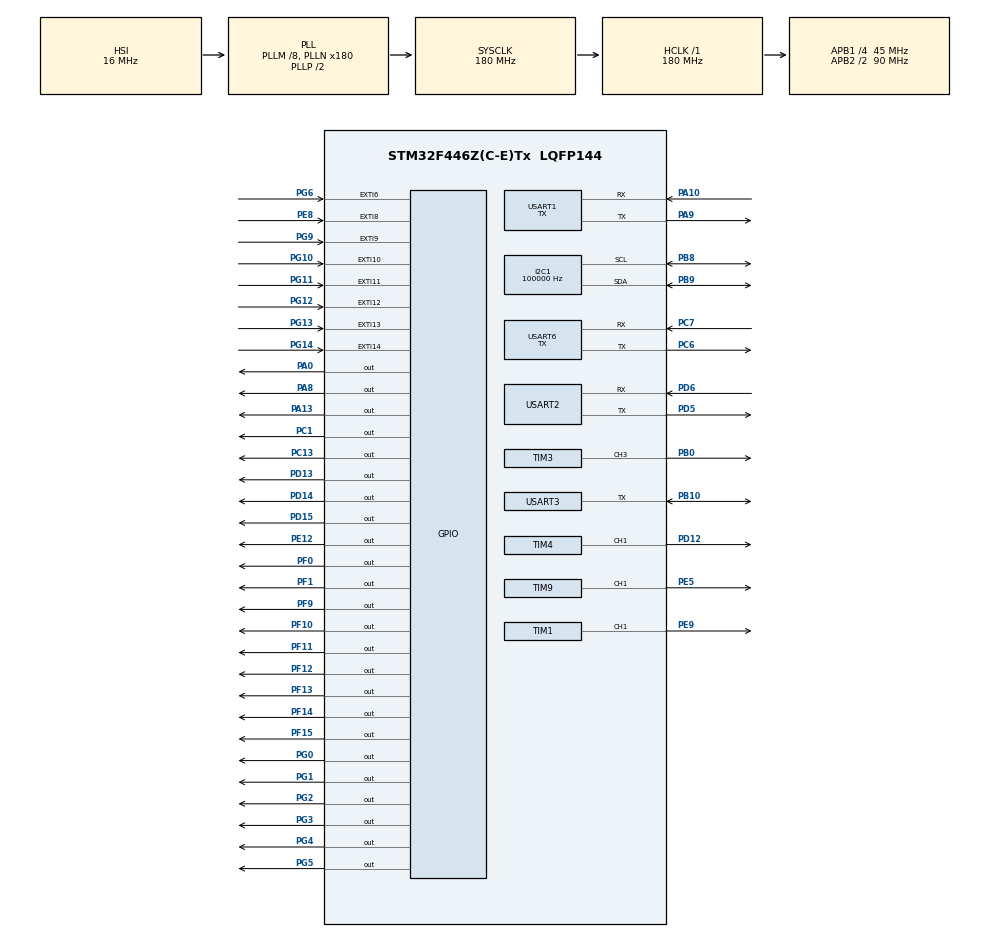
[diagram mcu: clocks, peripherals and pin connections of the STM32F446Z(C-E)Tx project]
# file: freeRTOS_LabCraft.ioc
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Dma.Request0=USART1_TX
Dma.USART1_TX.0.Direction=DMA_MEMORY_TO_PERIPH
Dma.USART1_TX.0.FIFOMode=DMA_FIFOMODE_DISABLE
Dma.USART1_TX.0.Instance=DMA2_Stream7
Dma.USART1_TX.0.MemDataAlignment=DMA_MDATAALIGN_BYTE
Dma.USART1_TX.0.MemInc=DMA_MINC_ENABLE
Dma.USART1_TX.0.Mode=DMA_NORMAL
Dma.USART1_TX.0.PeriphDataAlignment=DMA_PDATAALIGN_BYTE
Dma.USART1_TX.0.PeriphInc=DMA_PINC_DISABLE
Dma.USART1_TX.0.Priority=DMA_PRIORITY_HIGH
FREERTOS.INCLUDE_vTaskDelayUntil=1
FREERTOS.INCLUDE_xEventGroupSetBitFromISR=1
FREERTOS.INCLUDE_xTimerPendFunctionCall=1
FREERTOS.Tasks01=MotorInit,0,128,StartDefaultTask,Default,NULL,Dynamic,NULL,NULL
FREERTOS.configGENERATE_RUN_TIME_STATS=1
FREERTOS.configTIMER_QUEUE_LENGTH=10
FREERTOS.configUSE_NEWLIB_REENTRANT=1
FREERTOS.configUSE_STATS_FORMATTING_FUNCTIONS=1
FREERTOS.configUSE_TIMERS=1
FREERTOS.configUSE_TRACE_FACILITY=1
I2C1.ClockSpeed=100000
I2C1.I2C_Mode=I2C_Standard
Mcu.Family=STM32F4
Mcu.Name=STM32F446Z(C-E)Tx
Mcu.Package=LQFP144
NVIC.DMA2_Stream7_IRQn=true\:5\:0\:false\:false\:true\:true\:false\:true\:true
NVIC.EXTI15_10_IRQn=true\:5\:0\:false\:false\:true\:true\:true\:true\:true
NVIC.EXTI9_5_IRQn=true\:5\:0\:false\:false\:true\:true\:true\:true\:true
NVIC.PriorityGroup=NVIC_PRIORITYGROUP_4
NVIC.TIM1_BRK_TIM9_IRQn=true\:5\:0\:false\:false\:true\:true\:true\:true\:true
NVIC.TIM1_UP_TIM10_IRQn=true\:5\:0\:false\:false\:true\:true\:true\:true\:true
NVIC.TIM2_IRQn=true\:5\:0\:false\:false\:true\:true\:true\:true\:true
NVIC.TIM3_IRQn=true\:5\:0\:false\:false\:true\:true\:true\:true\:true
NVIC.TIM4_IRQn=true\:5\:0\:false\:false\:true\:true\:true\:true\:true
NVIC.TIM6_DAC_IRQn=true\:15\:0\:false\:false\:true\:false\:false\:true\:true
NVIC.TIM7_IRQn=true\:5\:0\:false\:false\:true\:true\:true\:true\:true
NVIC.TIM8_BRK_TIM12_IRQn=true\:5\:0\:false\:false\:true\:true\:true\:true\:true
NVIC.TIM8_TRG_COM_TIM14_IRQn=true\:5\:0\:false\:false\:true\:true\:true\:true\:true
NVIC.TIM8_UP_TIM13_IRQn=true\:5\:0\:false\:false\:true\:true\:true\:true\:true
NVIC.TimeBase=TIM6_DAC_IRQn
NVIC.TimeBaseIP=TIM6
NVIC.USART1_IRQn=true\:5\:0\:false\:false\:true\:true\:true\:true\:true
NVIC.USART2_IRQn=true\:5\:0\:false\:false\:true\:true\:true\:true\:true
PA0-WKUP.Signal=GPIO_Output
PA10.Mode=Asynchronous
PA10.Signal=USART1_RX
PA13.Signal=GPIO_Output
PA8.Signal=GPIO_Output
PA9.Mode=Asynchronous
PA9.Signal=USART1_TX
PB0.GPIO_Speed=GPIO_SPEED_FREQ_VERY_HIGH
PB0.Signal=S_TIM3_CH3
PB10.Mode=Half_duplex(single_wire_mode)
PB10.Signal=USART3_TX
PB8.GPIO_Pu=GPIO_PULLUP
PB8.Mode=I2C
PB8.Signal=I2C1_SCL
PB9.GPIO_Pu=GPIO_PULLUP
PB9.Mode=I2C
PB9.Signal=I2C1_SDA
PC1.Signal=GPIO_Output
PC13.Signal=GPIO_Output
PC6.Mode=Asynchronous
PC6.Signal=USART6_TX
PC7.Mode=Asynchronous
PC7.Signal=USART6_RX
PD12.GPIO_PuPd=GPIO_PULLDOWN
PD12.GPIO_Speed=GPIO_SPEED_FREQ_VERY_HIGH
PD12.Signal=S_TIM4_CH1
PD13.Signal=GPIO_Output
PD14.Signal=GPIO_Output
PD15.Signal=GPIO_Output
PD5.Mode=Asynchronous
PD5.Signal=USART2_TX
PD6.Mode=Asynchronous
PD6.Signal=USART2_RX
PE12.Signal=GPIO_Output
PE5.GPIO_PuPd=GPIO_PULLDOWN
PE5.GPIO_Speed=GPIO_SPEED_FREQ_VERY_HIGH
PE5.Signal=S_TIM9_CH1
PE8.GPIO_PuPd=GPIO_NOPULL
PE8.Signal=GPXTI8
PE9.GPIO_PuPd=GPIO_NOPULL
PE9.GPIO_Speed=GPIO_SPEED_FREQ_VERY_HIGH
PE9.Signal=S_TIM1_CH1
PF0.Signal=GPIO_Output
PF1.Signal=GPIO_Output
PF10.Signal=GPIO_Output
PF11.Signal=GPIO_Output
PF12.Signal=GPIO_Output
PF13.Signal=GPIO_Output
PF14.Signal=GPIO_Output
PF15.Signal=GPIO_Output
PF9.Signal=GPIO_Output
PG0.Signal=GPIO_Output
PG1.Signal=GPIO_Output
PG10.Signal=GPXTI10
PG11.Signal=GPXTI11
PG12.Signal=GPXTI12
PG13.Signal=GPXTI13
PG14.Signal=GPXTI14
PG2.Signal=GPIO_Output
PG3.Signal=GPIO_Output
PG4.Signal=GPIO_Output
PG5.Signal=GPIO_Output
PG6.GPIO_ModeDefaultEXTI=GPIO_MODE_IT_FALLING
PG6.Signal=GPXTI6
PG9.Signal=GPXTI9
ProjectManager.HeapSize=0x200
ProjectManager.StackSize=0x400
ProjectManager.TargetToolchain=STM32CubeIDE
RCC.AHBFreq_Value=180000000
RCC.APB1CLKDivider=RCC_HCLK_DIV4
RCC.APB1Freq_Value=45000000
RCC.APB1TimFreq_Value=90000000
RCC.APB2CLKDivider=RCC_HCLK_DIV2
RCC.APB2Freq_Value=90000000
RCC.APB2TimFreq_Value=180000000
RCC.CortexFreq_Value=180000000
RCC.HCLKFreq_Value=180000000
RCC.HSE_VALUE=12000000
RCC.PLLM=8
RCC.PLLN=180
RCC.PLLQ=8
RCC.PLLSAIM=12
RCC.PLLSAIP=RCC_PLLSAIP_DIV4
RCC.SYSCLKFreq_VALUE=180000000
RCC.SYSCLKSource=RCC_SYSCLKSOURCE_PLLCLK
RCC.USBCLockSelection=RCC_CLK48CLKSOURCE_PLLSAIP
RCC.USBFreq_Value=64000000
RCC.VCOOutputFreq_Value=360000000
SH.S_TIM1_CH1.0=TIM1_CH1,PWM Generation1 CH1
SH.S_TIM3_CH3.0=TIM3_CH3,PWM Generation3 CH3
SH.S_TIM4_CH1.0=TIM4_CH1,PWM Generation1 CH1
SH.S_TIM9_CH1.0=TIM9_CH1,PWM Generation1 CH1
TIM1.Channel-PWM\ Generation1\ CH1=TIM_CHANNEL_1
TIM10.Prescaler=0
TIM12.Channel-Output\ Compare1\ No\ Output=TIM_CHANNEL_1
TIM12.OCMode_1=TIM_OCMODE_TOGGLE
TIM12.Prescaler=89
TIM13.Prescaler=7
TIM3.Channel-PWM\ Generation3\ CH3=TIM_CHANNEL_3
TIM3.Period=4095
TIM4.Channel-PWM\ Generation1\ CH1=TIM_CHANNEL_1
TIM4.Prescaler=89
TIM5.Period=0xFFFFFFFF
TIM5.Prescaler=89
TIM5.TIM_MasterOutputTrigger=TIM_TRGO_UPDATE
TIM9.Channel-PWM\ Generation1\ CH1=TIM_CHANNEL_1
TIM9.Prescaler=179
USART1.Mode=MODE_TX
USART1.VirtualMode=VM_ASYNC
USART2.VirtualMode=VM_ASYNC
USART3.VirtualMode=VM_ASYNC
USART6.Mode=MODE_TX
USART6.VirtualMode=VM_ASYNC
VP_FREERTOS_VS_CMSIS_V1.Mode=CMSIS_V1
VP_SYS_VS_tim6.Mode=TIM6
VP_TIM10_VS_ClockSourceINT.Mode=Enable_Timer
VP_TIM12_VS_ClockSourceINT.Mode=Internal
VP_TIM12_VS_OPM.Mode=OPM_bit
VP_TIM12_VS_no_output1.Mode=Output Compare1 No Output
VP_TIM13_VS_ClockSourceINT.Mode=Enable_Timer
VP_TIM14_VS_ClockSourceINT.Mode=Enable_Timer
VP_TIM1_VS_ClockSourceINT.Mode=Internal
VP_TIM1_VS_OPM.Mode=OPM_bit
VP_TIM2_VS_ClockSourceINT.Mode=Internal
VP_TIM3_VS_ClockSourceINT.Mode=Internal
VP_TIM4_VS_ClockSourceINT.Mode=Internal
VP_TIM4_VS_OPM.Mode=OPM_bit
VP_TIM5_VS_ClockSourceINT.Mode=Internal
VP_TIM7_VS_ClockSourceINT.Mode=Enable_Timer
VP_TIM9_VS_ClockSourceINT.Mode=Internal
VP_TIM9_VS_OPM.Mode=OPM_bit
board=custom

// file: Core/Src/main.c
/* USER CODE BEGIN Header */
/**
  ******************************************************************************
  * @file           : main.c
  * @brief          : Main program body
  ******************************************************************************
  * @attention
  *
  * Copyright (c) 2025 STMicroelectronics.
  * All rights reserved.
  *
  * This software is licensed under terms that can be found in the LICENSE file
  * in the root directory of this software component.
  * If no LICENSE file comes with this software, it is provided AS-IS.
  *
  ******************************************************************************
  */
/* USER CODE END Header */
#include "main.h"
#include "cmsis_os.h"

/* USER CODE BEGIN Includes */
#include "nvm.h"
#include "BoardConfig.h"
#include "CrashLog.h"
#include "WatchdogSupervisor.h"
#include <stdio.h>

extern void MX_LED_Init(void);
extern void MX_MotionLimitDebounceTimer_Init(void);

extern void MX_COMM_Init(UART_HandleTypeDef* huart);
extern void MX_PS_Init(I2C_HandleTypeDef* hi2c,
                uint8_t tcaAddress,
                uint8_t sensorAddress);

//extern void MX_PS_Start(void);
//extern void MX_PS_Stop(void);

extern void MX_ORCH_Init(void);

extern void MX_STEPPERX_Init(void);
extern void MX_STEPPERY_Init(void);
extern void MX_STEPPERZ_Init(void);
extern void MX_STEPPERP_Init(void);
extern void MX_STEPPERR_Init(void);

extern void MX_STEPPERX_Move(uint8_t d,uint32_t steps,uint32_t freq,uint32_t accelSteps);
extern void MX_STEPPERY_Move(uint8_t d,uint32_t steps,uint32_t freq,uint32_t accelSteps);
extern void MX_STEPPERZ_Move(uint8_t d,uint32_t steps,uint32_t freq,uint32_t accelSteps);
extern void MX_STEPPERP_Move(uint8_t d,uint32_t steps,uint32_t freq,uint32_t accelSteps);
extern void MX_STEPPERR_Move(uint8_t d,uint32_t steps,uint32_t freq,uint32_t accelSteps);

extern void MX_STEPPERX_MoveTo(uint8_t s,uint32_t steps,uint32_t freq,uint32_t accelSteps);
extern void MX_STEPPERY_MoveTo(uint8_t s,uint32_t steps,uint32_t freq,uint32_t accelSteps);
extern void MX_STEPPERZ_MoveTo(uint8_t s,uint32_t steps,uint32_t freq,uint32_t accelSteps);
extern void MX_STEPPERP_MoveTo(uint8_t s,uint32_t steps,uint32_t freq,uint32_t accelSteps);
extern void MX_STEPPERR_MoveTo(uint8_t s,uint32_t steps,uint32_t freq,uint32_t accelSteps);

extern void MX_STEPPERX_Home(uint32_t fastHz, uint32_t slowHz, uint32_t backoffSteps);
extern void MX_STEPPERY_Home(uint32_t fastHz, uint32_t slowHz, uint32_t backoffSteps);
extern void MX_STEPPERZ_Home(uint32_t fastHz, uint32_t slowHz, uint32_t backoffSteps);
extern void MX_STEPPERP_Home(uint32_t fastHz, uint32_t slowHz, uint32_t backoffSteps);
extern void MX_STEPPERR_Home(uint32_t fastHz, uint32_t slowHz, uint32_t backoffSteps);

extern void Configure_All_TMC2208s(void);
extern uint8_t Test_Read(void);

extern void MX_DISPATCH(TIM_HandleTypeDef *htim);
extern void MX_ATTACH_LIMIT(uint16_t GPIO_Pin);

extern void MX_GANTRY_Init(void);
extern void MX_GANTRY_MoveBy(int32_t dx, int32_t dy, int32_t dz, uint32_t feedHz);

extern void MX_GRIPPER_Init(void);
extern void MX_GRIPPER_Open(void);
extern void MX_GRIPPER_Close(void);
extern void MX_GRIPPER_DisableDeferredRefresh(void);

extern void MX_PRINTER_Init(uint32_t printPulseUs, uint32_t refuelPulseUs);
extern void MX_PRINTER_COMPARE_MATCH(TIM_HandleTypeDef* htim);

extern void MX_LOGGER_Init(UART_HandleTypeDef* huart1, DMA_HandleTypeDef* hdma_usart1_tx);
extern void MX_LOGGER_Log_entry(const char* fmt);

extern void MX_PRESSURE_REGP_Init(int32_t target, uint32_t minHz, uint32_t maxHz, int32_t tol);
extern void MX_PRESSURE_REGR_Init(int32_t target, uint32_t minHz, uint32_t maxHz, int32_t tol);

extern void MX_PRESSURE_REGP_SetTarget(float p);
extern void MX_PRESSURE_REGR_SetTarget(float p);
extern void MX_REG_INNER_LIMIT(uint16_t GPIO_Pin);

extern void MX_FLASH_Init(uint16_t pulseDurationNs);
extern void MX_FLASH_ArmOutput(void);
extern void MX_FLASH_SetSafeIdle(void);
extern void MX_FLASH_ReportOutputState(void);
//extern void MX_FLASH_Init(uint16_t pulseTicks);
extern void MX_FLASH_ONCE();
extern void MX_FLASH_TriggerCallback(uint16_t GPIO_Pin);
extern void MX_FLASH_Acknowledge();
extern uint8_t MX_FLASH_ShouldFireScheduled(void);

extern void MX_TMC2208_Init(UART_HandleTypeDef* huart);

extern void MX_LEDSTRIP_Init(TIM_HandleTypeDef* htim3);
extern void MX_LEDSTRIP_SetBrightness(uint8_t pct);
extern void MX_LEDSTRIP_FadeTo(uint8_t pct, uint32_t ms);
extern void MX_LEDSTRIP_Off(void);

extern void MX_HEARTBEAT_Start(void);

//extern void MX_LEDSTRIP_BEGIN(TIM_HandleTypeDef* htim3, DMA_HandleTypeDef* hdma);
//extern void MX_LEDSTRIP_FILL(uint8_t r, uint8_t g, uint8_t b);
//extern void MX_LEDSTRIP_SHOW();
//extern void MX_LEDSTRIP_DMA_COMPLETE();

/* USER CODE END Includes */

/* USER CODE BEGIN PD */

static void Configure_PE8_TriggerPulldown(void)
{
    GPIO_InitTypeDef gi = {0};
    gi.Pin = GPIO_PIN_8;
    gi.Mode = GPIO_MODE_IT_RISING;
    gi.Pull = GPIO_PULLDOWN;
    gi.Speed = GPIO_SPEED_FREQ_LOW;
    HAL_GPIO_Init(GPIOE, &gi);
    __HAL_GPIO_EXTI_CLEAR_FLAG(GPIO_PIN_8);
}

static void Log_PE8_TriggerBiasState(void)
{
    char msg[96];
    const unsigned long line_high =
        (HAL_GPIO_ReadPin(GPIOE, GPIO_PIN_8) == GPIO_PIN_SET) ? 1ul : 0ul;
    const unsigned long pull_mode = (unsigned long)((GPIOE->PUPDR >> (8u * 2u)) & 0x3u);
    snprintf(msg,
             sizeof(msg),
             "PE8_BIAS pull=%lu line=%lu exti=rising\r\n",
             pull_mode,
             line_high);
    MX_LOGGER_Log_entry(msg);
}

//static void Reclaim_PE8_For_EXTI(void)
//{
//    __HAL_RCC_SYSCFG_CLK_ENABLE();
//    __HAL_RCC_GPIOE_CLK_ENABLE();
//
//    // Map EXTI8 to Port E explicitly (belt & suspenders)
//    MODIFY_REG(SYSCFG->EXTICR[2], SYSCFG_EXTICR3_EXTI8, SYSCFG_EXTICR3_EXTI8_PE);
//
//    // Configure PE8 as interrupt input (rising)
//    GPIO_InitTypeDef gi = {0};
//    gi.Pin   = GPIO_PIN_8;
//    gi.Mode  = GPIO_MODE_IT_RISING;
//    gi.Pull  = GPIO_NOPULL;
//    gi.Speed = GPIO_SPEED_FREQ_LOW;
//    HAL_GPIO_Init(GPIOE, &gi);
//
//    // Unmask line 8, enable Rising, disable Falling
//    EXTI->IMR  |=  EXTI_IMR_MR8;
//    EXTI->RTSR |=  EXTI_RTSR_TR8;
//    EXTI->FTSR &= ~EXTI_FTSR_TR8;
//
//    // NVIC already enabled in MX_GPIO_Init; safe to ensure again
//    HAL_NVIC_SetPriority(EXTI9_5_IRQn, 5, 0);
//    HAL_NVIC_EnableIRQ(EXTI9_5_IRQn);
//}

//static void Reclaim_PE8_For_EXTI(void)
//{
//    __HAL_RCC_SYSCFG_CLK_ENABLE();
//    __HAL_RCC_GPIOE_CLK_ENABLE();
//
//    // 1) Make PE8 a plain input (optionally pull-down to guarantee idle low)
//    GPIO_InitTypeDef gi = {0};
//    gi.Pin   = GPIO_PIN_8;
//    gi.Mode  = GPIO_MODE_INPUT;          // input first; EXTI is configured via EXTI regs
//    gi.Pull  = GPIO_NOPULL;              // or GPIO_PULLDOWN if your source idles low
//    gi.Speed = GPIO_SPEED_FREQ_LOW;
//    HAL_GPIO_Init(GPIOE, &gi);
//
//    // 2) Map EXTI line 8 to port E explicitly
//    MODIFY_REG(SYSCFG->EXTICR[2], SYSCFG_EXTICR3_EXTI8, SYSCFG_EXTICR3_EXTI8_PE);
//
//    // 3) Clear any stale pending flag
//    EXTI->PR = (1u<<8);
//
//    // 4) Enable rising edge, disable falling, unmask line
//    EXTI->RTSR |= (1u<<8);
//    EXTI->FTSR &= ~(1u<<8);
//    EXTI->IMR  |= (1u<<8);
//
//    // 5) NVIC (ok to repeat)
//    HAL_NVIC_SetPriority(EXTI9_5_IRQn, 5, 0);
//    HAL_NVIC_EnableIRQ(EXTI9_5_IRQn);
//}

//static void Force_PE8_EXTI_Rising_WithPulldown(void)
//{
//    // 1) Ensure clocks
//    __HAL_RCC_GPIOE_CLK_ENABLE();
//    __HAL_RCC_SYSCFG_CLK_ENABLE();
//
//    // 2) PE8 as input with pulldown (force via registers to avoid HAL surprises)
//    // Clear PUPDR[17:16] for PE8, then set PULLDOWN (=10b)
//    GPIOE->PUPDR = (GPIOE->PUPDR & ~(0x3u << (8*2))) | (0x2u << (8*2));
//    // Clear MODER[17:16] for PE8 to make it input
//    GPIOE->MODER &= ~(0x3u << (8*2));
//
//    // 3) Route EXTI8 to Port E explicitly
//    MODIFY_REG(SYSCFG->EXTICR[2], SYSCFG_EXTICR3_EXTI8, SYSCFG_EXTICR3_EXTI8_PE);
//
//    // 4) Arm rising (optionally both edges while debugging)
//    EXTI->IMR  |= (1u<<8);
//    EXTI->RTSR |= (1u<<8);
//    EXTI->FTSR &= ~(1u<<8);  // or |= (1u<<8) to accept both during debug
//
//    // 5) Clear any stale pending and enable NVIC
//    EXTI->PR = (1u<<8);      // write 1 to clear
//    HAL_NVIC_SetPriority(EXTI9_5_IRQn, 5, 0);
//    HAL_NVIC_EnableIRQ(EXTI9_5_IRQn);
//}

//// Static memory for Idle task:
//static StaticTask_t xIdleTaskTCB;
//static StackType_t  xIdleStack[configMINIMAL_STACK_SIZE];
//
//void vApplicationGetIdleTaskMemory( StaticTask_t **ppxIdleTaskTCBBuffer,
//                                    StackType_t  **ppxIdleTaskStackBuffer,
//                                    uint32_t     *pulIdleTaskStackSize )
//{
//  *ppxIdleTaskTCBBuffer = &xIdleTaskTCB;
//  *ppxIdleTaskStackBuffer = xIdleStack;
//  *pulIdleTaskStackSize = configMINIMAL_STACK_SIZE;
//}
//
//#if (configUSE_TIMERS == 1)
//// Static memory for Timer Service task:
//static StaticTask_t xTimerTaskTCB;
//static StackType_t  xTimerStack[ configTIMER_TASK_STACK_DEPTH ];
//
//void vApplicationGetTimerTaskMemory( StaticTask_t **ppxTimerTaskTCBBuffer,
//                                     StackType_t  **ppxTimerTaskStackBuffer,
//                                     uint32_t     *pulTimerTaskStackSize )
//{
//  *ppxTimerTaskTCBBuffer = &xTimerTaskTCB;
//  *ppxTimerTaskStackBuffer = xTimerStack;
//  *pulTimerTaskStackSize = configTIMER_TASK_STACK_DEPTH;
//}
//#endif

/* USER CODE END PD */

I2C_HandleTypeDef hi2c1;

TIM_HandleTypeDef htim1;
TIM_HandleTypeDef htim2;
TIM_HandleTypeDef htim3;
TIM_HandleTypeDef htim4;
TIM_HandleTypeDef htim5;
TIM_HandleTypeDef htim7;
TIM_HandleTypeDef htim9;
TIM_HandleTypeDef htim10;
TIM_HandleTypeDef htim12;
TIM_HandleTypeDef htim13;
TIM_HandleTypeDef htim14;

UART_HandleTypeDef huart1;
UART_HandleTypeDef huart2;
UART_HandleTypeDef huart3;
UART_HandleTypeDef huart6;
DMA_HandleTypeDef hdma_usart1_tx;

osThreadId MotorInitHandle;

void SystemClock_Config(void);
static void MX_GPIO_Init(void);
static void MX_DMA_Init(void);
static void MX_USART2_UART_Init(void);
static void MX_I2C1_Init(void);
static void MX_TIM2_Init(void);
static void MX_TIM5_Init(void);
static void MX_TIM7_Init(void);
static void MX_TIM13_Init(void);
static void MX_TIM14_Init(void);
static void MX_TIM4_Init(void);
static void MX_TIM9_Init(void);
static void MX_USART1_UART_Init(void);
static void MX_TIM10_Init(void);
static void MX_TIM1_Init(void);
static void MX_USART3_UART_Init(void);
static void MX_USART6_UART_Init(void);
static void MX_TIM3_Init(void);
static void MX_TIM12_Init(void);
void StartDefaultTask(void const * argument);

int main(void)
{

  /* MCU Configuration--------------------------------------------------------*/

  /* Reset of all peripherals, Initializes the Flash interface and the Systick. */
  HAL_Init();

  /* USER CODE BEGIN Init */
  CrashLog_SetBootStage(CRASH_BOOT_STAGE_HAL_INIT);

  /* USER CODE END Init */

  /* Configure the system clock */
  SystemClock_Config();

  /* USER CODE BEGIN SysInit */
  CrashLog_EarlyBootInit();
  CrashLog_SetBootStage(CRASH_BOOT_STAGE_CRASHLOG_READY);

  nvm_config_t cfg;
  if (!nvm_load(&cfg)) {
      nvm_defaults(&cfg);
      (void)nvm_save(&cfg);  // ignore fail → app can still run with RAM defaults
  }
  /* USER CODE END SysInit */

  /* Initialize all configured peripherals */
  MX_GPIO_Init();
  MX_DMA_Init();
  MX_USART2_UART_Init();
  MX_I2C1_Init();
  MX_TIM2_Init();
  MX_TIM5_Init();
  MX_TIM7_Init();
  MX_TIM13_Init();
  MX_TIM14_Init();
  MX_TIM4_Init();
  MX_TIM9_Init();
  MX_USART1_UART_Init();
  MX_TIM10_Init();
  MX_TIM1_Init();
  MX_USART3_UART_Init();
  MX_USART6_UART_Init();
  MX_TIM3_Init();
  MX_TIM12_Init();
  /* USER CODE BEGIN 2 */
  MX_MotionLimitDebounceTimer_Init();
  Watchdog_EarlyInit();
  if (Watchdog_ShouldRunRecoveryReset() != 0u) {
    NVIC_SystemReset();
  }
  // initialize our C++-backed LED task
  MX_LED_Init();

  MX_GRIPPER_Init();
  MX_PRINTER_Init(1300,2500);
  MX_FLASH_Init(/*pulseDurationNs=*/1000);	// 1 us pulse = 180 ticks

  MX_ORCH_Init();
  CrashLog_SetBootStage(CRASH_BOOT_STAGE_ORCH_READY);
  MX_LOGGER_Init(&huart1, &hdma_usart1_tx);
  Log_PE8_TriggerBiasState();
  MX_FLASH_ReportOutputState();
  CrashLog_SetBootStage(CRASH_BOOT_STAGE_LOGGER_READY);
//  MX_COMM_Init(&huart2);     // start the Comm task on UART2

//  Configure_All_TMC2208s();
  MX_TMC2208_Init(&huart6);
  MX_LEDSTRIP_Init(&htim3);  // start your strip driver
  MX_LEDSTRIP_SetBrightness(0);    // off

  /* USER CODE END 2 */

  /* Create the thread(s) */
  /* definition and creation of MotorInit */
  osThreadDef(MotorInit, StartDefaultTask, osPriorityNormal, 0, 256);
  MotorInitHandle = osThreadCreate(osThread(MotorInit), NULL);

  /* USER CODE BEGIN RTOS_THREADS */
  /* create the step‐test task at a high priority */
//  osThreadDef(stepTest, StepTestTask, osPriorityAboveNormal, 0, 128);
//  osThreadCreate(osThread(stepTest), NULL);
  /* add threads, ... */
  /* USER CODE END RTOS_THREADS */

  /* Start scheduler */
  osKernelStart();

  /* We should never get here as control is now taken by the scheduler */

  /* Infinite loop */
  while (1)
  {

  }
}

void SystemClock_Config(void)
{
  RCC_OscInitTypeDef RCC_OscInitStruct = {0};
  RCC_ClkInitTypeDef RCC_ClkInitStruct = {0};

  /** Configure the main internal regulator output voltage
  */
  __HAL_RCC_PWR_CLK_ENABLE();
  __HAL_PWR_VOLTAGESCALING_CONFIG(PWR_REGULATOR_VOLTAGE_SCALE1);

  /** Initializes the RCC Oscillators according to the specified parameters
  * in the RCC_OscInitTypeDef structure.
  */
  RCC_OscInitStruct.OscillatorType = RCC_OSCILLATORTYPE_HSI;
  RCC_OscInitStruct.HSIState = RCC_HSI_ON;
  RCC_OscInitStruct.HSICalibrationValue = RCC_HSICALIBRATION_DEFAULT;
  RCC_OscInitStruct.PLL.PLLState = RCC_PLL_ON;
  RCC_OscInitStruct.PLL.PLLSource = RCC_PLLSOURCE_HSI;
  RCC_OscInitStruct.PLL.PLLM = 8;
  RCC_OscInitStruct.PLL.PLLN = 180;
  RCC_OscInitStruct.PLL.PLLP = RCC_PLLP_DIV2;
  RCC_OscInitStruct.PLL.PLLQ = 8;
  RCC_OscInitStruct.PLL.PLLR = 2;
  if (HAL_RCC_OscConfig(&RCC_OscInitStruct) != HAL_OK)
  {
    Error_Handler();
  }

  /** Activate the Over-Drive mode
  */
  if (HAL_PWREx_EnableOverDrive() != HAL_OK)
  {
    Error_Handler();
  }

  /** Initializes the CPU, AHB and APB buses clocks
  */
  RCC_ClkInitStruct.ClockType = RCC_CLOCKTYPE_HCLK|RCC_CLOCKTYPE_SYSCLK
                              |RCC_CLOCKTYPE_PCLK1|RCC_CLOCKTYPE_PCLK2;
  RCC_ClkInitStruct.SYSCLKSource = RCC_SYSCLKSOURCE_PLLCLK;
  RCC_ClkInitStruct.AHBCLKDivider = RCC_SYSCLK_DIV1;
  RCC_ClkInitStruct.APB1CLKDivider = RCC_HCLK_DIV4;
  RCC_ClkInitStruct.APB2CLKDivider = RCC_HCLK_DIV2;

  if (HAL_RCC_ClockConfig(&RCC_ClkInitStruct, FLASH_LATENCY_5) != HAL_OK)
  {
    Error_Handler();
  }
}

static void MX_I2C1_Init(void)
{

  hi2c1.Instance = I2C1;
  hi2c1.Init.ClockSpeed = 100000;
  hi2c1.Init.DutyCycle = I2C_DUTYCYCLE_2;
  hi2c1.Init.OwnAddress1 = 0;
  hi2c1.Init.AddressingMode = I2C_ADDRESSINGMODE_7BIT;
  hi2c1.Init.DualAddressMode = I2C_DUALADDRESS_DISABLE;
  hi2c1.Init.OwnAddress2 = 0;
  hi2c1.Init.GeneralCallMode = I2C_GENERALCALL_DISABLE;
  hi2c1.Init.NoStretchMode = I2C_NOSTRETCH_DISABLE;
  if (HAL_I2C_Init(&hi2c1) != HAL_OK)
  {
    Error_Handler();
  }

}

static void MX_TIM1_Init(void)
{

  TIM_ClockConfigTypeDef sClockSourceConfig = {0};
  TIM_MasterConfigTypeDef sMasterConfig = {0};
  TIM_OC_InitTypeDef sConfigOC = {0};
  TIM_BreakDeadTimeConfigTypeDef sBreakDeadTimeConfig = {0};

  htim1.Instance = TIM1;
  htim1.Init.Prescaler = 0;
  htim1.Init.CounterMode = TIM_COUNTERMODE_UP;
  htim1.Init.Period = 65535;
  htim1.Init.ClockDivision = TIM_CLOCKDIVISION_DIV1;
  htim1.Init.RepetitionCounter = 0;
  htim1.Init.AutoReloadPreload = TIM_AUTORELOAD_PRELOAD_DISABLE;
  if (HAL_TIM_Base_Init(&htim1) != HAL_OK)
  {
    Error_Handler();
  }
  sClockSourceConfig.ClockSource = TIM_CLOCKSOURCE_INTERNAL;
  if (HAL_TIM_ConfigClockSource(&htim1, &sClockSourceConfig) != HAL_OK)
  {
    Error_Handler();
  }
  if (HAL_TIM_PWM_Init(&htim1) != HAL_OK)
  {
    Error_Handler();
  }
  if (HAL_TIM_OnePulse_Init(&htim1, TIM_OPMODE_SINGLE) != HAL_OK)
  {
    Error_Handler();
  }
  sMasterConfig.MasterOutputTrigger = TIM_TRGO_RESET;
  sMasterConfig.MasterSlaveMode = TIM_MASTERSLAVEMODE_DISABLE;
  if (HAL_TIMEx_MasterConfigSynchronization(&htim1, &sMasterConfig) != HAL_OK)
  {
    Error_Handler();
  }
  sConfigOC.OCMode = TIM_OCMODE_PWM1;
  sConfigOC.Pulse = 0;
  sConfigOC.OCPolarity = TIM_OCPOLARITY_HIGH;
  sConfigOC.OCNPolarity = TIM_OCNPOLARITY_HIGH;
  sConfigOC.OCFastMode = TIM_OCFAST_DISABLE;
  sConfigOC.OCIdleState = TIM_OCIDLESTATE_RESET;
  sConfigOC.OCNIdleState = TIM_OCNIDLESTATE_RESET;
  if (HAL_TIM_PWM_ConfigChannel(&htim1, &sConfigOC, TIM_CHANNEL_1) != HAL_OK)
  {
    Error_Handler();
  }
  sBreakDeadTimeConfig.OffStateRunMode = TIM_OSSR_DISABLE;
  sBreakDeadTimeConfig.OffStateIDLEMode = TIM_OSSI_DISABLE;
  sBreakDeadTimeConfig.LockLevel = TIM_LOCKLEVEL_OFF;
  sBreakDeadTimeConfig.DeadTime = 0;
  sBreakDeadTimeConfig.BreakState = TIM_BREAK_DISABLE;
  sBreakDeadTimeConfig.BreakPolarity = TIM_BREAKPOLARITY_HIGH;
  sBreakDeadTimeConfig.AutomaticOutput = TIM_AUTOMATICOUTPUT_DISABLE;
  if (HAL_TIMEx_ConfigBreakDeadTime(&htim1, &sBreakDeadTimeConfig) != HAL_OK)
  {
    Error_Handler();
  }
  HAL_TIM_MspPostInit(&htim1);

}

static void MX_TIM2_Init(void)
{

  TIM_ClockConfigTypeDef sClockSourceConfig = {0};
  TIM_MasterConfigTypeDef sMasterConfig = {0};

  htim2.Instance = TIM2;
  htim2.Init.Prescaler = 0;
  htim2.Init.CounterMode = TIM_COUNTERMODE_UP;
  htim2.Init.Period = 4294967295;
  htim2.Init.ClockDivision = TIM_CLOCKDIVISION_DIV1;
  htim2.Init.AutoReloadPreload = TIM_AUTORELOAD_PRELOAD_DISABLE;
  if (HAL_TIM_Base_Init(&htim2) != HAL_OK)
  {
    Error_Handler();
  }
  sClockSourceConfig.ClockSource = TIM_CLOCKSOURCE_INTERNAL;
  if (HAL_TIM_ConfigClockSource(&htim2, &sClockSourceConfig) != HAL_OK)
  {
    Error_Handler();
  }
  sMasterConfig.MasterOutputTrigger = TIM_TRGO_RESET;
  sMasterConfig.MasterSlaveMode = TIM_MASTERSLAVEMODE_DISABLE;
  if (HAL_TIMEx_MasterConfigSynchronization(&htim2, &sMasterConfig) != HAL_OK)
  {
    Error_Handler();
  }
  /* USER CODE BEGIN TIM2_Init 2 */

  // TIM2 is owned by the X stepper and coordinated XY executor. Leave it
  // stopped/READY after peripheral initialization; each motion start enables
  // the update interrupt and timer through HAL_TIM_Base_Start_IT().
  /* USER CODE END TIM2_Init 2 */

}

static void MX_TIM3_Init(void)
{

  TIM_ClockConfigTypeDef sClockSourceConfig = {0};
  TIM_MasterConfigTypeDef sMasterConfig = {0};
  TIM_OC_InitTypeDef sConfigOC = {0};

  htim3.Instance = TIM3;
  htim3.Init.Prescaler = 0;
  htim3.Init.CounterMode = TIM_COUNTERMODE_UP;
  htim3.Init.Period = 4095;
  htim3.Init.ClockDivision = TIM_CLOCKDIVISION_DIV1;
  htim3.Init.AutoReloadPreload = TIM_AUTORELOAD_PRELOAD_DISABLE;
  if (HAL_TIM_Base_Init(&htim3) != HAL_OK)
  {
    Error_Handler();
  }
  sClockSourceConfig.ClockSource = TIM_CLOCKSOURCE_INTERNAL;
  if (HAL_TIM_ConfigClockSource(&htim3, &sClockSourceConfig) != HAL_OK)
  {
    Error_Handler();
  }
  if (HAL_TIM_PWM_Init(&htim3) != HAL_OK)
  {
    Error_Handler();
  }
  sMasterConfig.MasterOutputTrigger = TIM_TRGO_RESET;
  sMasterConfig.MasterSlaveMode = TIM_MASTERSLAVEMODE_DISABLE;
  if (HAL_TIMEx_MasterConfigSynchronization(&htim3, &sMasterConfig) != HAL_OK)
  {
    Error_Handler();
  }
  sConfigOC.OCMode = TIM_OCMODE_PWM1;
  sConfigOC.Pulse = 0;
  sConfigOC.OCPolarity = TIM_OCPOLARITY_HIGH;
  sConfigOC.OCFastMode = TIM_OCFAST_DISABLE;
  if (HAL_TIM_PWM_ConfigChannel(&htim3, &sConfigOC, TIM_CHANNEL_3) != HAL_OK)
  {
    Error_Handler();
  }
  HAL_TIM_MspPostInit(&htim3);

}

static void MX_TIM4_Init(void)
{

  TIM_ClockConfigTypeDef sClockSourceConfig = {0};
  TIM_MasterConfigTypeDef sMasterConfig = {0};
  TIM_OC_InitTypeDef sConfigOC = {0};

  htim4.Instance = TIM4;
  htim4.Init.Prescaler = 89;
  htim4.Init.CounterMode = TIM_COUNTERMODE_UP;
  htim4.Init.Period = 65535;
  htim4.Init.ClockDivision = TIM_CLOCKDIVISION_DIV1;
  htim4.Init.AutoReloadPreload = TIM_AUTORELOAD_PRELOAD_DISABLE;
  if (HAL_TIM_Base_Init(&htim4) != HAL_OK)
  {
    Error_Handler();
  }
  sClockSourceConfig.ClockSource = TIM_CLOCKSOURCE_INTERNAL;
  if (HAL_TIM_ConfigClockSource(&htim4, &sClockSourceConfig) != HAL_OK)
  {
    Error_Handler();
  }
  if (HAL_TIM_PWM_Init(&htim4) != HAL_OK)
  {
    Error_Handler();
  }
  if (HAL_TIM_OnePulse_Init(&htim4, TIM_OPMODE_SINGLE) != HAL_OK)
  {
    Error_Handler();
  }
  sMasterConfig.MasterOutputTrigger = TIM_TRGO_RESET;
  sMasterConfig.MasterSlaveMode = TIM_MASTERSLAVEMODE_DISABLE;
  if (HAL_TIMEx_MasterConfigSynchronization(&htim4, &sMasterConfig) != HAL_OK)
  {
    Error_Handler();
  }
  sConfigOC.OCMode = TIM_OCMODE_PWM1;
  sConfigOC.Pulse = 0;
  sConfigOC.OCPolarity = TIM_OCPOLARITY_HIGH;
  sConfigOC.OCFastMode = TIM_OCFAST_DISABLE;
  if (HAL_TIM_PWM_ConfigChannel(&htim4, &sConfigOC, TIM_CHANNEL_1) != HAL_OK)
  {
    Error_Handler();
  }
  HAL_TIM_MspPostInit(&htim4);

}

static void MX_TIM5_Init(void)
{

  TIM_ClockConfigTypeDef sClockSourceConfig = {0};
  TIM_MasterConfigTypeDef sMasterConfig = {0};

  htim5.Instance = TIM5;
  htim5.Init.Prescaler = 89;
  htim5.Init.CounterMode = TIM_COUNTERMODE_UP;
  htim5.Init.Period = 0xFFFFFFFF;
  htim5.Init.ClockDivision = TIM_CLOCKDIVISION_DIV1;
  htim5.Init.AutoReloadPreload = TIM_AUTORELOAD_PRELOAD_DISABLE;
  if (HAL_TIM_Base_Init(&htim5) != HAL_OK)
  {
    Error_Handler();
  }
  sClockSourceConfig.ClockSource = TIM_CLOCKSOURCE_INTERNAL;
  if (HAL_TIM_ConfigClockSource(&htim5, &sClockSourceConfig) != HAL_OK)
  {
    Error_Handler();
  }
  sMasterConfig.MasterOutputTrigger = TIM_TRGO_UPDATE;
  sMasterConfig.MasterSlaveMode = TIM_MASTERSLAVEMODE_DISABLE;
  if (HAL_TIMEx_MasterConfigSynchronization(&htim5, &sMasterConfig) != HAL_OK)
  {
    Error_Handler();
  }

}

static void MX_TIM7_Init(void)
{

  TIM_MasterConfigTypeDef sMasterConfig = {0};

  htim7.Instance = TIM7;
  htim7.Init.Prescaler = 0;
  htim7.Init.CounterMode = TIM_COUNTERMODE_UP;
  htim7.Init.Period = 65535;
  htim7.Init.AutoReloadPreload = TIM_AUTORELOAD_PRELOAD_DISABLE;
  if (HAL_TIM_Base_Init(&htim7) != HAL_OK)
  {
    Error_Handler();
  }
  sMasterConfig.MasterOutputTrigger = TIM_TRGO_RESET;
  sMasterConfig.MasterSlaveMode = TIM_MASTERSLAVEMODE_DISABLE;
  if (HAL_TIMEx_MasterConfigSynchronization(&htim7, &sMasterConfig) != HAL_OK)
  {
    Error_Handler();
  }

}

static void MX_TIM9_Init(void)
{

  TIM_ClockConfigTypeDef sClockSourceConfig = {0};
  TIM_OC_InitTypeDef sConfigOC = {0};

  htim9.Instance = TIM9;
  htim9.Init.Prescaler = 179;
  htim9.Init.CounterMode = TIM_COUNTERMODE_UP;
  htim9.Init.Period = 65535;
  htim9.Init.ClockDivision = TIM_CLOCKDIVISION_DIV1;
  htim9.Init.AutoReloadPreload = TIM_AUTORELOAD_PRELOAD_DISABLE;
  if (HAL_TIM_Base_Init(&htim9) != HAL_OK)
  {
    Error_Handler();
  }
  sClockSourceConfig.ClockSource = TIM_CLOCKSOURCE_INTERNAL;
  if (HAL_TIM_ConfigClockSource(&htim9, &sClockSourceConfig) != HAL_OK)
  {
    Error_Handler();
  }
  if (HAL_TIM_PWM_Init(&htim9) != HAL_OK)
  {
    Error_Handler();
  }
  if (HAL_TIM_OnePulse_Init(&htim9, TIM_OPMODE_SINGLE) != HAL_OK)
  {
    Error_Handler();
  }
  sConfigOC.OCMode = TIM_OCMODE_PWM1;
  sConfigOC.Pulse = 0;
  sConfigOC.OCPolarity = TIM_OCPOLARITY_HIGH;
  sConfigOC.OCFastMode = TIM_OCFAST_DISABLE;
  if (HAL_TIM_PWM_ConfigChannel(&htim9, &sConfigOC, TIM_CHANNEL_1) != HAL_OK)
  {
    Error_Handler();
  }
  HAL_TIM_MspPostInit(&htim9);

}

static void MX_TIM10_Init(void)
{

  htim10.Instance = TIM10;
  htim10.Init.Prescaler = 0;
  htim10.Init.CounterMode = TIM_COUNTERMODE_UP;
  htim10.Init.Period = 65535;
  htim10.Init.ClockDivision = TIM_CLOCKDIVISION_DIV1;
  htim10.Init.AutoReloadPreload = TIM_AUTORELOAD_PRELOAD_DISABLE;
  if (HAL_TIM_Base_Init(&htim10) != HAL_OK)
  {
    Error_Handler();
  }

}

static void MX_TIM12_Init(void)
{

  TIM_ClockConfigTypeDef sClockSourceConfig = {0};
  TIM_OC_InitTypeDef sConfigOC = {0};

  htim12.Instance = TIM12;
  htim12.Init.Prescaler = 89;
  htim12.Init.CounterMode = TIM_COUNTERMODE_UP;
  htim12.Init.Period = 65535;
  htim12.Init.ClockDivision = TIM_CLOCKDIVISION_DIV1;
  htim12.Init.AutoReloadPreload = TIM_AUTORELOAD_PRELOAD_DISABLE;
  if (HAL_TIM_Base_Init(&htim12) != HAL_OK)
  {
    Error_Handler();
  }
  sClockSourceConfig.ClockSource = TIM_CLOCKSOURCE_INTERNAL;
  if (HAL_TIM_ConfigClockSource(&htim12, &sClockSourceConfig) != HAL_OK)
  {
    Error_Handler();
  }
  if (HAL_TIM_OC_Init(&htim12) != HAL_OK)
  {
    Error_Handler();
  }
  if (HAL_TIM_OnePulse_Init(&htim12, TIM_OPMODE_SINGLE) != HAL_OK)
  {
    Error_Handler();
  }
  sConfigOC.OCMode = TIM_OCMODE_TOGGLE;
  sConfigOC.Pulse = 0;
  sConfigOC.OCPolarity = TIM_OCPOLARITY_HIGH;
  sConfigOC.OCFastMode = TIM_OCFAST_DISABLE;
  if (HAL_TIM_OC_ConfigChannel(&htim12, &sConfigOC, TIM_CHANNEL_1) != HAL_OK)
  {
    Error_Handler();
  }

}

static void MX_TIM13_Init(void)
{

  htim13.Instance = TIM13;
  htim13.Init.Prescaler = 7;
  htim13.Init.CounterMode = TIM_COUNTERMODE_UP;
  htim13.Init.Period = 65535;
  htim13.Init.ClockDivision = TIM_CLOCKDIVISION_DIV1;
  htim13.Init.AutoReloadPreload = TIM_AUTORELOAD_PRELOAD_DISABLE;
  if (HAL_TIM_Base_Init(&htim13) != HAL_OK)
  {
    Error_Handler();
  }

}

static void MX_TIM14_Init(void)
{

  htim14.Instance = TIM14;
  htim14.Init.Prescaler = 0;
  htim14.Init.CounterMode = TIM_COUNTERMODE_UP;
  htim14.Init.Period = 65535;
  htim14.Init.ClockDivision = TIM_CLOCKDIVISION_DIV1;
  htim14.Init.AutoReloadPreload = TIM_AUTORELOAD_PRELOAD_DISABLE;
  if (HAL_TIM_Base_Init(&htim14) != HAL_OK)
  {
    Error_Handler();
  }

}

static void MX_USART1_UART_Init(void)
{

  huart1.Instance = USART1;
  huart1.Init.BaudRate = 115200;
  huart1.Init.WordLength = UART_WORDLENGTH_8B;
  huart1.Init.StopBits = UART_STOPBITS_1;
  huart1.Init.Parity = UART_PARITY_NONE;
  huart1.Init.Mode = UART_MODE_TX;
  huart1.Init.HwFlowCtl = UART_HWCONTROL_NONE;
  huart1.Init.OverSampling = UART_OVERSAMPLING_16;
  if (HAL_UART_Init(&huart1) != HAL_OK)
  {
    Error_Handler();
  }

}

static void MX_USART2_UART_Init(void)
{

  huart2.Instance = USART2;
  huart2.Init.BaudRate = 115200;
  huart2.Init.WordLength = UART_WORDLENGTH_8B;
  huart2.Init.StopBits = UART_STOPBITS_1;
  huart2.Init.Parity = UART_PARITY_NONE;
  huart2.Init.Mode = UART_MODE_TX_RX;
  huart2.Init.HwFlowCtl = UART_HWCONTROL_NONE;
  huart2.Init.OverSampling = UART_OVERSAMPLING_16;
  if (HAL_UART_Init(&huart2) != HAL_OK)
  {
    Error_Handler();
  }

}

static void MX_USART3_UART_Init(void)
{

  huart3.Instance = USART3;
  huart3.Init.BaudRate = 115200;
  huart3.Init.WordLength = UART_WORDLENGTH_8B;
  huart3.Init.StopBits = UART_STOPBITS_1;
  huart3.Init.Parity = UART_PARITY_NONE;
  huart3.Init.Mode = UART_MODE_TX_RX;
  huart3.Init.HwFlowCtl = UART_HWCONTROL_NONE;
  huart3.Init.OverSampling = UART_OVERSAMPLING_16;
  if (HAL_HalfDuplex_Init(&huart3) != HAL_OK)
  {
    Error_Handler();
  }

}

static void MX_USART6_UART_Init(void)
{

  huart6.Instance = USART6;
  huart6.Init.BaudRate = 115200;
  huart6.Init.WordLength = UART_WORDLENGTH_8B;
  huart6.Init.StopBits = UART_STOPBITS_1;
  huart6.Init.Parity = UART_PARITY_NONE;
  huart6.Init.Mode = UART_MODE_TX;
  huart6.Init.HwFlowCtl = UART_HWCONTROL_NONE;
  huart6.Init.OverSampling = UART_OVERSAMPLING_16;
  if (HAL_UART_Init(&huart6) != HAL_OK)
  {
    Error_Handler();
  }

}

static void MX_DMA_Init(void)
{

  /* DMA controller clock enable */
  __HAL_RCC_DMA2_CLK_ENABLE();

  /* DMA interrupt init */
  /* DMA2_Stream7_IRQn interrupt configuration */
  HAL_NVIC_SetPriority(DMA2_Stream7_IRQn, 5, 0);
  HAL_NVIC_EnableIRQ(DMA2_Stream7_IRQn);

}

static void MX_GPIO_Init(void)
{
  GPIO_InitTypeDef GPIO_InitStruct = {0};

  /* GPIO Ports Clock Enable */
  __HAL_RCC_GPIOE_CLK_ENABLE();
  __HAL_RCC_GPIOC_CLK_ENABLE();
  __HAL_RCC_GPIOF_CLK_ENABLE();
  __HAL_RCC_GPIOA_CLK_ENABLE();
  __HAL_RCC_GPIOB_CLK_ENABLE();
  __HAL_RCC_GPIOG_CLK_ENABLE();
  __HAL_RCC_GPIOD_CLK_ENABLE();

  /*Configure GPIO pin Output Level */
  HAL_GPIO_WritePin(GPIOC, GPIO_PIN_13|GPIO_PIN_1, GPIO_PIN_RESET);

  /*Configure GPIO pin Output Level */
  HAL_GPIO_WritePin(GPIOF, GPIO_PIN_0|GPIO_PIN_1|GPIO_PIN_9|GPIO_PIN_10
                          |GPIO_PIN_11|GPIO_PIN_12|GPIO_PIN_13|GPIO_PIN_14
                          |GPIO_PIN_15, GPIO_PIN_RESET);

  /*Configure GPIO pin Output Level */
  HAL_GPIO_WritePin(GPIOA, GPIO_PIN_0|GPIO_PIN_8|GPIO_PIN_13, GPIO_PIN_RESET);

  /*Configure GPIO pin Output Level */
  HAL_GPIO_WritePin(GPIOG, GPIO_PIN_0|GPIO_PIN_1|GPIO_PIN_2|GPIO_PIN_3
                          |GPIO_PIN_4|GPIO_PIN_5, GPIO_PIN_RESET);

  /*Configure GPIO pin Output Level */
  HAL_GPIO_WritePin(GPIOE, GPIO_PIN_12, GPIO_PIN_RESET);

  /*Configure GPIO pin Output Level */
  HAL_GPIO_WritePin(GPIOD, GPIO_PIN_13|GPIO_PIN_14|GPIO_PIN_15, GPIO_PIN_RESET);

  /*Configure GPIO pins : PC13 PC1 */
  GPIO_InitStruct.Pin = GPIO_PIN_13|GPIO_PIN_1;
  GPIO_InitStruct.Mode = GPIO_MODE_OUTPUT_PP;
  GPIO_InitStruct.Pull = GPIO_NOPULL;
  GPIO_InitStruct.Speed = GPIO_SPEED_FREQ_LOW;
  HAL_GPIO_Init(GPIOC, &GPIO_InitStruct);

  /*Configure GPIO pins : PF0 PF1 PF9 PF10
                           PF11 PF12 PF13 PF14
                           PF15 */
  GPIO_InitStruct.Pin = GPIO_PIN_0|GPIO_PIN_1|GPIO_PIN_9|GPIO_PIN_10
                          |GPIO_PIN_11|GPIO_PIN_12|GPIO_PIN_13|GPIO_PIN_14
                          |GPIO_PIN_15;
  GPIO_InitStruct.Mode = GPIO_MODE_OUTPUT_PP;
  GPIO_InitStruct.Pull = GPIO_NOPULL;
  GPIO_InitStruct.Speed = GPIO_SPEED_FREQ_LOW;
  HAL_GPIO_Init(GPIOF, &GPIO_InitStruct);

  /*Configure GPIO pins : PA0 PA8 PA13 */
  GPIO_InitStruct.Pin = GPIO_PIN_0|GPIO_PIN_8|GPIO_PIN_13;
  GPIO_InitStruct.Mode = GPIO_MODE_OUTPUT_PP;
  GPIO_InitStruct.Pull = GPIO_NOPULL;
  GPIO_InitStruct.Speed = GPIO_SPEED_FREQ_LOW;
  HAL_GPIO_Init(GPIOA, &GPIO_InitStruct);

  /*Configure GPIO pins : PG0 PG1 PG2 PG3
                           PG4 PG5 */
  GPIO_InitStruct.Pin = GPIO_PIN_0|GPIO_PIN_1|GPIO_PIN_2|GPIO_PIN_3
                          |GPIO_PIN_4|GPIO_PIN_5;
  GPIO_InitStruct.Mode = GPIO_MODE_OUTPUT_PP;
  GPIO_InitStruct.Pull = GPIO_NOPULL;
  GPIO_InitStruct.Speed = GPIO_SPEED_FREQ_LOW;
  HAL_GPIO_Init(GPIOG, &GPIO_InitStruct);

  /*Configure GPIO pin : PE8 */
  GPIO_InitStruct.Pin = GPIO_PIN_8;
  GPIO_InitStruct.Mode = GPIO_MODE_IT_RISING;
  GPIO_InitStruct.Pull = GPIO_NOPULL;
  HAL_GPIO_Init(GPIOE, &GPIO_InitStruct);

  /*Configure GPIO pin : PE12 */
  GPIO_InitStruct.Pin = GPIO_PIN_12;
  GPIO_InitStruct.Mode = GPIO_MODE_OUTPUT_PP;
  GPIO_InitStruct.Pull = GPIO_NOPULL;
  GPIO_InitStruct.Speed = GPIO_SPEED_FREQ_LOW;
  HAL_GPIO_Init(GPIOE, &GPIO_InitStruct);

  /*Configure GPIO pins : PD13 PD14 PD15 */
  GPIO_InitStruct.Pin = GPIO_PIN_13|GPIO_PIN_14|GPIO_PIN_15;
  GPIO_InitStruct.Mode = GPIO_MODE_OUTPUT_PP;
  GPIO_InitStruct.Pull = GPIO_NOPULL;
  GPIO_InitStruct.Speed = GPIO_SPEED_FREQ_LOW;
  HAL_GPIO_Init(GPIOD, &GPIO_InitStruct);

  /*Configure GPIO pin : PG6 */
  GPIO_InitStruct.Pin = GPIO_PIN_6;
  GPIO_InitStruct.Mode = GPIO_MODE_IT_FALLING;
  GPIO_InitStruct.Pull = GPIO_NOPULL;
  HAL_GPIO_Init(GPIOG, &GPIO_InitStruct);

  /*Configure GPIO pins : PG9 PG10 PG11 PG12
                           PG13 PG14 */
  GPIO_InitStruct.Pin = GPIO_PIN_9|GPIO_PIN_10|GPIO_PIN_11|GPIO_PIN_12
                          |GPIO_PIN_13|GPIO_PIN_14;
  GPIO_InitStruct.Mode = GPIO_MODE_IT_RISING;
  GPIO_InitStruct.Pull = GPIO_NOPULL;
  HAL_GPIO_Init(GPIOG, &GPIO_InitStruct);

  /* EXTI interrupt init*/
  HAL_NVIC_SetPriority(EXTI9_5_IRQn, 5, 0);
  HAL_NVIC_EnableIRQ(EXTI9_5_IRQn);

  HAL_NVIC_SetPriority(EXTI15_10_IRQn, 5, 0);
  HAL_NVIC_EnableIRQ(EXTI15_10_IRQn);

  /* USER CODE BEGIN MX_GPIO_Init_2 */
  // Force all stepper drivers disabled immediately after GPIO init.
  // The generated pin defaults above drive these active-low ENABLE lines low,
  // which can briefly energize the motors during boot before Stepper::begin()
  // restores the intended disabled state.
  HAL_GPIO_WritePin(GPIOA, GPIO_PIN_0, GPIO_PIN_SET);
  HAL_GPIO_WritePin(GPIOF, GPIO_PIN_1 | GPIO_PIN_14 | GPIO_PIN_15, GPIO_PIN_SET);
  HAL_GPIO_WritePin(GPIOG, GPIO_PIN_2 | GPIO_PIN_5, GPIO_PIN_SET);
  Configure_PE8_TriggerPulldown();
  /* USER CODE END MX_GPIO_Init_2 */
}

/* USER CODE BEGIN 4 */
void HAL_GPIO_EXTI_Callback(uint16_t GPIO_Pin)
{
  if (GPIO_Pin == GPIO_PIN_8) {
	MX_FLASH_TriggerCallback(GPIO_Pin);
  } else {
	MX_ATTACH_LIMIT(GPIO_Pin);
	MX_REG_INNER_LIMIT(GPIO_Pin);
  }
}

void HAL_TIM_OC_DelayElapsedCallback(TIM_HandleTypeDef* htim) {
  if (htim->Instance == TIM12 && htim->Channel == HAL_TIM_ACTIVE_CHANNEL_1) {
    // Stop further interrupts on CH1 for this one-shot
    HAL_TIM_OC_Stop_IT(htim, TIM_CHANNEL_1);

    if (MX_FLASH_ShouldFireScheduled() != 0u) {
      // Fire the flash *now* (TIM1 OPM pulse via your Flash singleton)
      MX_FLASH_ONCE();

      MX_FLASH_Acknowledge();
    }
  }
}
//void HAL_TIM_OC_DelayElapsedCallback(TIM_HandleTypeDef *htim) {
//	 if (htim == &htim12) {
//	    // stop the one-shot so it won’t repeat
////		HAL_GPIO_TogglePin(GPIOA, GPIO_PIN_13);
//	    HAL_TIM_OC_Stop_IT(&htim12, TIM_CHANNEL_1);
//
//	    // now actually flash
//	    MX_FLASH_ONCE();
//	 }
//	 else {
////		 MX_PRINTER_COMPARE_MATCH(htim);
//	 }
//
//}

//void HAL_TIM_PWM_PulseFinishedCallback(TIM_HandleTypeDef *htim) {
//  if (htim->Instance == TIM3) {
//    MX_LEDSTRIP_DMA_COMPLETE();
//  }
//}

//void HAL_DMA_XferCpltCallback(DMA_HandleTypeDef *hdma)
//{
////  HAL_GPIO_TogglePin(GPIOA, GPIO_PIN_13);
//
//  // TIM3_CH3 uses DMA1_Stream7:
//  if (hdma == LEDStrip::instance().hdma()) {
//    // wake the LEDStrip task so it can stop DMA in thread context
//	  MX_LEDSTRIP_DMA_COMPLETE();
//  }
//}

/* USER CODE END 4 */

void StartDefaultTask(void const * argument)
{
  /* USER CODE BEGIN 5 */
  (void)argument;
  MX_HEARTBEAT_Start();
  MX_PS_Init(&hi2c1, 0x70, 40);      // tca addr=0x70, sensor=40

  MX_GANTRY_Init();
  MX_STEPPERP_Init();
  MX_PRESSURE_REGP_Init(1638, 2000,40000,3);
//
#if (LC_PRESSURE_PORTS > 1)
  MX_STEPPERR_Init();
  MX_PRESSURE_REGR_Init(1638, 2000,40000,3);
#endif

  MX_COMM_Init(&huart2);     // start the Comm task on UART2
  Watchdog_StartTask();
  Watchdog_EnableTask(CRASH_TASK_BOOT);
  Watchdog_CheckIn(CRASH_TASK_BOOT);

  /* Infinite loop */
  for(;;)
  {
    Watchdog_CheckIn(CRASH_TASK_BOOT);
	osDelay(1);
  }
  /* USER CODE END 5 */
}

void HAL_TIM_PeriodElapsedCallback(TIM_HandleTypeDef *htim)
{
  if (htim->Instance == TIM6)
  {
    HAL_IncTick();
  }
  /* USER CODE BEGIN Callback 1 */
  // fan out to both steppers
  else if (htim->Instance == TIM2 ||
             htim->Instance == TIM7 ||
             htim->Instance == TIM10 ||
             htim->Instance == TIM13 ||
			 htim->Instance == TIM14) {
      MX_DISPATCH(htim);
    }
  /* USER CODE END Callback 1 */
}

void Error_Handler(void)
{
  /* USER CODE BEGIN Error_Handler_Debug */
#if (LC_CRASHLOG_FAULT_HOOKS_ENABLE != 0)
  CrashLog_RecordAndHaltFromHandler(CRASH_FAULT_ERROR, CRASH_TASK_NONE);
#else
  __disable_irq();
  while (1)
  {
  }
#endif
  /* USER CODE END Error_Handler_Debug */
}

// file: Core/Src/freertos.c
/* USER CODE BEGIN Header */
/**
  ******************************************************************************
  * File Name          : freertos.c
  * Description        : Code for freertos applications
  ******************************************************************************
  * @attention
  *
  * Copyright (c) 2025 STMicroelectronics.
  * All rights reserved.
  *
  * This software is licensed under terms that can be found in the LICENSE file
  * in the root directory of this software component.
  * If no LICENSE file comes with this software, it is provided AS-IS.
  *
  ******************************************************************************
  */
/* USER CODE END Header */

#include "FreeRTOS.h"
#include "task.h"
#include "main.h"

/* USER CODE BEGIN Includes */
#include "CrashLog.h"
#include "CrashLogCodec.h"
#include "WatchdogSupervisor.h"

/* USER CODE END Includes */

/* USER CODE BEGIN Variables */
static volatile uint32_t g_stackOverflowHookFired = 0;

/* USER CODE END Variables */

/* USER CODE BEGIN FunctionPrototypes */
uint32_t RTOS_StackOverflowHookFired(void);
void vApplicationStackOverflowHook(TaskHandle_t xTask, char *pcTaskName);

/* USER CODE END FunctionPrototypes */

/* GetIdleTaskMemory prototype (linked to static allocation support) */
void vApplicationGetIdleTaskMemory( StaticTask_t **ppxIdleTaskTCBBuffer, StackType_t **ppxIdleTaskStackBuffer, uint32_t *pulIdleTaskStackSize );

/* GetTimerTaskMemory prototype (linked to static allocation support) */
void vApplicationGetTimerTaskMemory( StaticTask_t **ppxTimerTaskTCBBuffer, StackType_t **ppxTimerTaskStackBuffer, uint32_t *pulTimerTaskStackSize );

/* Hook prototypes */
void configureTimerForRunTimeStats(void);
unsigned long getRunTimeCounterValue(void);

/* USER CODE BEGIN GET_IDLE_TASK_MEMORY */
static StaticTask_t xIdleTaskTCBBuffer;
static StackType_t xIdleStack[configMINIMAL_STACK_SIZE];

void vApplicationGetIdleTaskMemory( StaticTask_t **ppxIdleTaskTCBBuffer, StackType_t **ppxIdleTaskStackBuffer, uint32_t *pulIdleTaskStackSize )
{
  *ppxIdleTaskTCBBuffer = &xIdleTaskTCBBuffer;
  *ppxIdleTaskStackBuffer = &xIdleStack[0];
  *pulIdleTaskStackSize = configMINIMAL_STACK_SIZE;
  /* place for user code */
}
/* USER CODE END GET_IDLE_TASK_MEMORY */

/* USER CODE BEGIN GET_TIMER_TASK_MEMORY */
static StaticTask_t xTimerTaskTCBBuffer;
static StackType_t xTimerStack[configTIMER_TASK_STACK_DEPTH];

void vApplicationGetTimerTaskMemory( StaticTask_t **ppxTimerTaskTCBBuffer, StackType_t **ppxTimerTaskStackBuffer, uint32_t *pulTimerTaskStackSize )
{
  *ppxTimerTaskTCBBuffer = &xTimerTaskTCBBuffer;
  *ppxTimerTaskStackBuffer = &xTimerStack[0];
  *pulTimerTaskStackSize = configTIMER_TASK_STACK_DEPTH;
  /* place for user code */
}
/* USER CODE END GET_TIMER_TASK_MEMORY */

/* USER CODE BEGIN Application */
uint32_t RTOS_StackOverflowHookFired(void)
{
  return g_stackOverflowHookFired;
}

void vApplicationStackOverflowHook(TaskHandle_t xTask, char *pcTaskName)
{
#if (LC_CRASHLOG_FAULT_HOOKS_ENABLE == 0)
  (void)xTask;
  (void)pcTaskName;
  g_stackOverflowHookFired = 1u;
  taskDISABLE_INTERRUPTS();
  for (;;)
  {
  }
#else
  g_stackOverflowHookFired = 1u;
  const char* taskName = pcTaskName;
  CrashTaskId taskId = CrashLog_TaskIdFromTaskName(taskName);
  if ((taskId == CRASH_TASK_NONE) && (xTask != NULL)) {
    const char* handleName = pcTaskGetName(xTask);
    if ((handleName != NULL) && (handleName[0] != '\0')) {
      taskName = handleName;
      taskId = CrashLog_TaskIdFromTaskName(handleName);
    }
  }
  CrashLog_RecordStackOverflowFromHook(taskId, taskName);
  __disable_irq();
  if (Watchdog_IsArmed() != 0u) {
    for (;;)
    {
    }
  }
  NVIC_SystemReset();
  for (;;)
  {
  }
#endif
}

/* USER CODE END Application */
